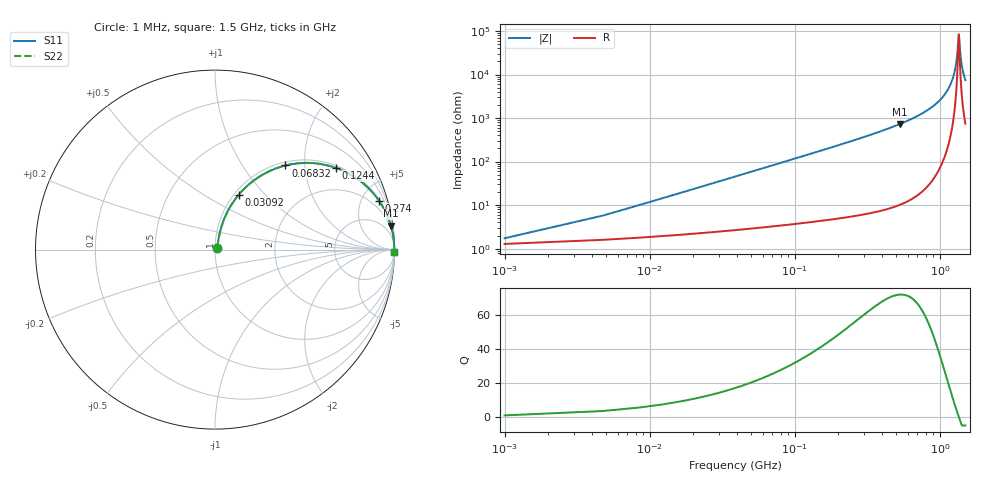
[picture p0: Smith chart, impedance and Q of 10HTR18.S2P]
! Coilcraft 1008HT-R18 Chip Inductor
! 16 July 2002
# MHZ S MA R 50
!Freq  MagS11  AngS11  MagS21  AngS21  MagS12  AngS12  MagS22  AngS22
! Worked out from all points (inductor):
!   402 points, 1 MHz to 1.5 GHz, reference 50 ohm
!   read as one part in series: L = 185 nH near 8.48 MHz
!   highest Q = 71.8 at 532.1 MHz (marker M1), where L = 219 nH
!   self-resonance near 1.351 GHz
!   S11 on the Smith chart (normalised r, x): 1 MHz: 1.03, +0.02; 30.92 MHz: 1.05, +0.72; 68.32 MHz: 1.06, +1.59; 124.4 MHz: 1.08, +2.92; 274 MHz: 1.12, +6.64; 1.5 GHz: open
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1  0.01709 41.5  0.9873 -0.7  0.9873 -0.7  0.01709 41.5
12.22  0.1393 74.3  0.9716 -7.9  0.9716 -7.9  0.1393 74.3
15.96  0.18 73.3  0.9639 -10.3  0.9639 -10.3  0.18 73.3
30.92  0.3319 66.7  0.9207 -19.3  0.9207 -19.3  0.3319 66.7
68.32  0.6113 50.0  0.7672 -37.6  0.7672 -37.6  0.6113 50.0
124.42  0.8145 33.9  0.5582 -54.5  0.5582 -54.5  0.8145 33.9
251.58  0.9445 18.2  0.3117 -70.8  0.3117 -70.8  0.9445 18.2
274.02  0.953 16.7  0.2868 -72.3  0.2868 -72.3  0.953 16.7
502.16  0.9873 8.4  0.1458 -80.8  0.1458 -80.8  0.9873 8.4
532.08  0.989 7.8  0.1351 -81.4  0.1351 -81.4  0.989 7.8
752.74  0.9957 4.5  0.07848 -84.6  0.07848 -84.6  0.9957 4.5
1003.32  0.9982 2.2  0.03841 -86.2  0.03841 -86.2  0.9982 2.2
1156.66  0.9987 1.1  0.01988 -85.7  0.01988 -85.7  0.9987 1.1
1253.9  0.9988 0.5  0.009583 -82.6  0.009583 -82.6  0.9988 0.5
1306.26  0.9988 0.2  0.004461 -74.6  0.004461 -74.6  0.9988 0.2
1343.66  0.9988 0.0  0.001393 -30.8  0.001393 -30.8  0.9988 0.0
1351.14  0.9988 0.0  0.001201 -0.4  0.001201 -0.4  0.9988 0.0
1358.62  0.9988 -0.0  0.001392 29.8  0.001392 29.8  0.9988 -0.0
1388.54  0.9988 -0.2  0.003675 70.2  0.003675 70.2  0.9988 -0.2
1410.98  0.9987 -0.3  0.005643 76.9  0.005643 76.9  0.9987 -0.3
1452.12  0.9987 -0.5  0.009252 81.5  0.009252 81.5  0.9987 -0.5
1500  0.9986 -0.8  0.01337 83.5  0.01337 83.5  0.9986 -0.8
